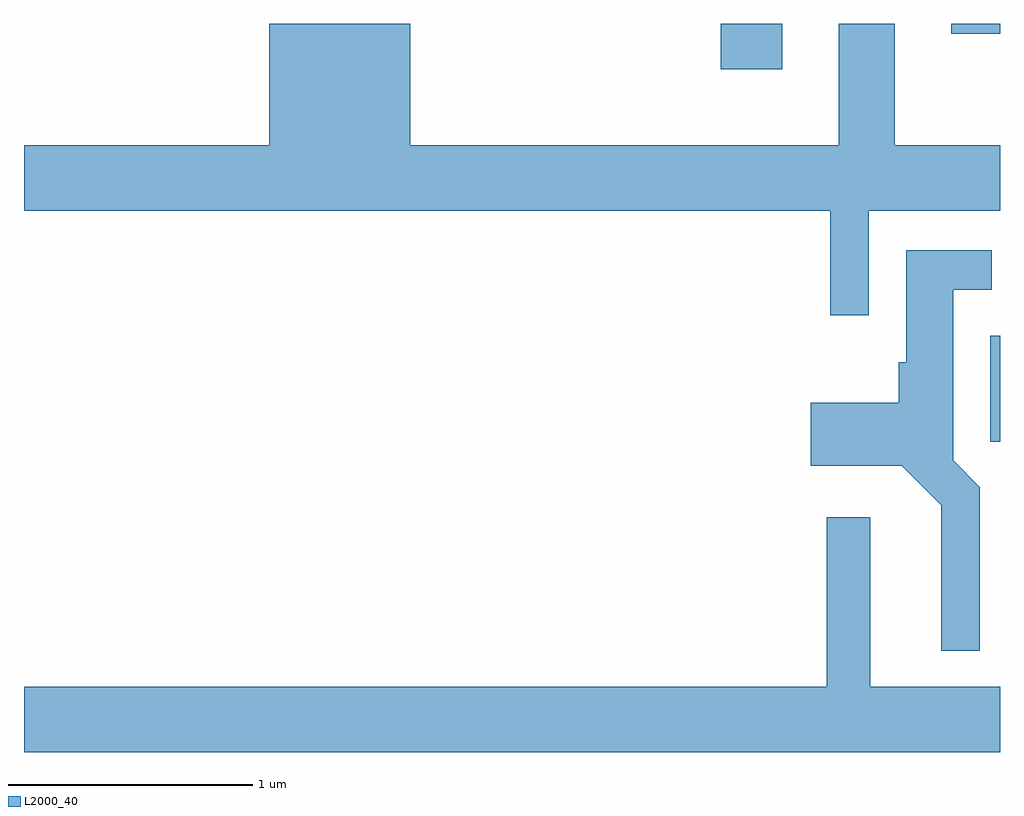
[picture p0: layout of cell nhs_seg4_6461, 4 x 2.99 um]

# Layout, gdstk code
import gdstk
lib = gdstk.Library(unit=1e-6, precision=1e-09)
def R(c, l, rs):  # rectangles x0, y0, x1, y1
    for r in rs: c.add(gdstk.rectangle(r[:2], r[2:], *l))
def P(c, l, *ps):  # polygons
    for p in ps: c.add(gdstk.Polygon(p, *l))
L2000_40 = (2000, 40)

nhs_seg4_6461 = lib.new_cell('nhs_seg4_6461')
R(nhs_seg4_6461, L2000_40, [(379.571,1258.268,379.611,1258.704), (378.466,1259.796,378.719,1259.982), (379.411,1259.941,379.611,1259.982)])
P(nhs_seg4_6461, L2000_40, [(379.074,1259.216),(379.611,1259.216),(379.611,1259.484),(379.179,1259.484),(379.179,1259.982),(378.951,1259.982),(378.951,1259.484),(377.194,1259.484),(377.194,1259.982),(376.616,1259.982),(376.616,1259.484),(375.611,1259.484),(375.611,1259.216),(378.916,1259.216),(378.916,1258.788),(379.074,1258.788)],
  [(379.529,1258.082),(379.419,1258.192),(379.419,1258.891),(379.578,1258.891),(379.578,1259.054),(379.226,1259.054),(379.226,1258.594),(379.196,1258.594),(379.196,1258.429),(378.836,1258.429),(378.836,1258.171),(379.209,1258.171),(379.371,1258.009),(379.371,1257.413),(379.529,1257.413)],
  [(379.611,1257.264),(379.079,1257.264),(379.079,1257.959),(378.901,1257.959),(378.901,1257.264),(375.611,1257.264),(375.611,1256.996),(379.611,1256.996)])

lib.write_gds('nhs_seg4_6461.gds')
